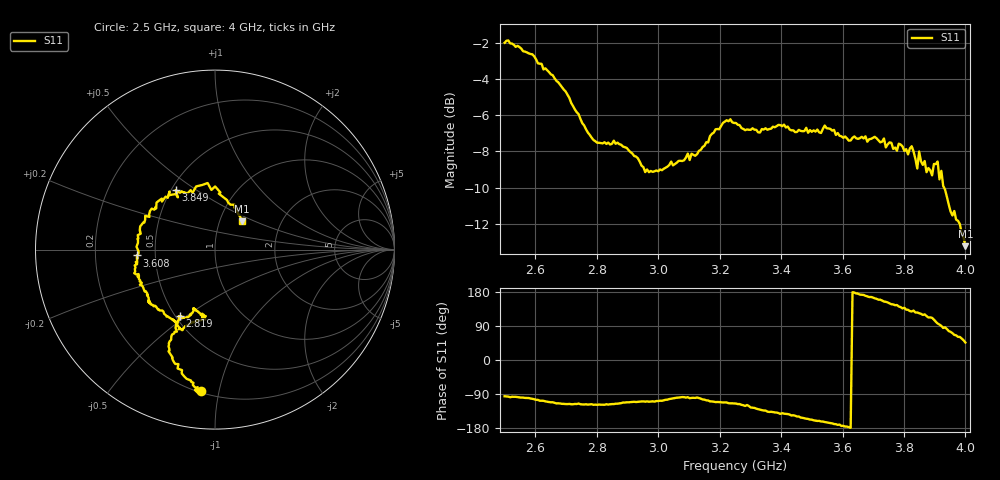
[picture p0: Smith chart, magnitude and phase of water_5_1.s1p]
# MHz S MA R 50
!  freq  S11
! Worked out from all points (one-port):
!   250 points, 2.5 GHz to 4 GHz, reference 50 ohm
!   lowest |S11| = -13.2 dB at 4 GHz (marker M1), VSWR 1.56, Z = 63.9 + j21.1 ohm
!   |S11| at or under -10 dB: 3.93 GHz to end of sweep
!   S11 on the Smith chart (normalised r, x): 2.5 GHz: 0.21, -0.88; 2.819 GHz: 0.53, -0.47; 3.608 GHz: 0.39, -0.03; 3.849 GHz: 0.53, +0.42; 4 GHz: 1.28, +0.42
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2500  0.7933 -95.7
2590.361  0.737 -102.4
2692.771  0.5891 -115.8
2771.084  0.4485 -117.6
2819.277  0.4187 -117.9
2879.518  0.4151 -113.8
2957.831  0.3489 -110.0
3066.265  0.3745 -99.2
3126.506  0.3909 -98.9
3186.747  0.4577 -111.1
3253.012  0.4766 -115.0
3397.59  0.4701 -142.2
3439.759  0.455 -145.8
3542.169  0.4689 -163.7
3608.434  0.4373 -175.7
3626.506  0.4264 -178.9
3704.819  0.4365 162.8
3813.253  0.3904 132.4
3825.301  0.4111 128.1
3843.373  0.3569 125.4
3849.398  0.3976 123.5
3891.566  0.3418 111.2
3909.639  0.3731 96.3
3915.663  0.3332 93.4
3921.687  0.3517 89.9
3951.807  0.2716 74.3
3963.855  0.2725 66.3
4000  0.218 46.1
